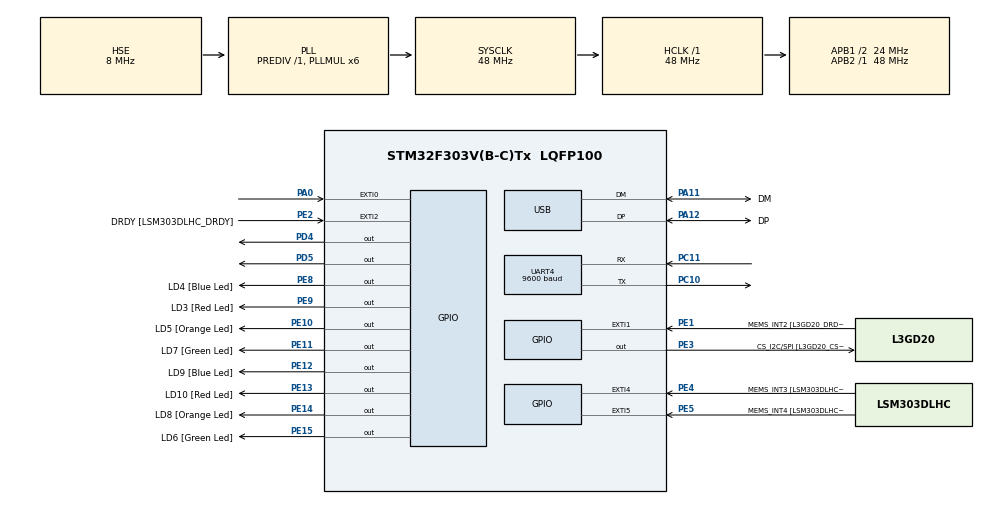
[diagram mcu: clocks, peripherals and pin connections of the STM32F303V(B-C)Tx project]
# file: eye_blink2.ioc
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Mcu.Family=STM32F3
Mcu.Name=STM32F303V(B-C)Tx
Mcu.Package=LQFP100
NVIC.EXTI0_IRQn=true\:0\:0\:false\:false\:true\:true\:true\:true
NVIC.PriorityGroup=NVIC_PRIORITYGROUP_0
NVIC.UART4_IRQn=true\:0\:0\:false\:false\:true\:true\:true\:true
NVIC.USB_LP_CAN_RX0_IRQn=true\:0\:0\:false\:false\:true\:false\:true\:true
PA0.GPIO_ModeDefaultEXTI=GPIO_MODE_IT_RISING_FALLING
PA0.Signal=GPXTI0
PA11.GPIO_Label=DM
PA11.Mode=Device
PA11.Signal=USB_DM
PA12.GPIO_Label=DP
PA12.Mode=Device
PA12.Signal=USB_DP
PA13.GPIO_Label=SWDIO
PA13.Mode=Serial_Wire
PA13.Signal=SYS_JTMS-SWDIO
PA14.GPIO_Label=SWCLK
PA14.Mode=Serial_Wire
PA14.Signal=SYS_JTCK-SWCLK
PA5.GPIO_Label=SPI1_SCK [L3GD20_SCL/SPC]
PA5.Signal=SPI1_SCK
PA6.GPIO_Label=SPI1_MISO [L3GD20_SA0/SDO]
PA6.Signal=SPI1_MISO
PA7.GPIO_Label=SPI1_MISO [L3GD20_SDA/SDI/SDO]
PA7.Signal=SPI1_MOSI
PB3.GPIO_Label=SWO
PB3.Signal=SYS_JTDO-TRACESWO
PB6.GPIO_Label=I2C1_SCL [LSM303DLHC_SCL]
PB6.GPIO_Pu=GPIO_PULLUP
PB6.Signal=I2C1_SCL
PB7.GPIO_Label=I2C1_SDA [LSM303DLHC_SDA]
PB7.GPIO_Pu=GPIO_PULLUP
PB7.Signal=I2C1_SDA
PC10.Mode=Asynchronous
PC10.Signal=UART4_TX
PC11.Mode=Asynchronous
PC11.Signal=UART4_RX
PC14-OSC32_IN.GPIO_Label=OSC32_IN
PC14-OSC32_IN.Signal=RCC_OSC32_IN
PC15-OSC32_OUT.GPIO_Label=OSC32_OUT
PC15-OSC32_OUT.Signal=RCC_OSC32_OUT
PD4.Signal=GPIO_Output
PD5.Signal=GPIO_Output
PE1.GPIO_Label=MEMS_INT2 [L3GD20_DRDY/INT2]
PE1.GPIO_ModeDefaultEXTI=GPIO_MODE_EVT_RISING
PE1.Signal=GPXTI1
PE10.GPIO_Label=LD5 [Orange Led]
PE10.Signal=GPIO_Output
PE11.GPIO_Label=LD7 [Green Led]
PE11.Signal=GPIO_Output
PE12.GPIO_Label=LD9 [Blue Led]
PE12.Signal=GPIO_Output
PE13.GPIO_Label=LD10 [Red Led]
PE13.Signal=GPIO_Output
PE14.GPIO_Label=LD8 [Orange Led]
PE14.Signal=GPIO_Output
PE15.GPIO_Label=LD6 [Green Led]
PE15.Signal=GPIO_Output
PE2.GPIO_Label=DRDY [LSM303DLHC_DRDY]
PE2.GPIO_ModeDefaultEXTI=GPIO_MODE_EVT_RISING
PE2.Signal=GPXTI2
PE3.GPIO_Label=CS_I2C/SPI [L3GD20_CS_I2C/SPI]
PE3.Signal=GPIO_Output
PE4.GPIO_Label=MEMS_INT3 [LSM303DLHC_INT1]
PE4.GPIO_ModeDefaultEXTI=GPIO_MODE_EVT_RISING
PE4.Signal=GPXTI4
PE5.GPIO_Label=MEMS_INT4 [LSM303DLHC_INT2]
PE5.GPIO_ModeDefaultEXTI=GPIO_MODE_EVT_RISING
PE5.Signal=GPXTI5
PE8.GPIO_Label=LD4 [Blue Led]
PE8.Signal=GPIO_Output
PE9.GPIO_Label=LD3 [Red Led]
PE9.Signal=GPIO_Output
PF0-OSC_IN.GPIO_Label=OSC_IN
PF0-OSC_IN.Mode=HSE-External-Oscillator
PF0-OSC_IN.Signal=RCC_OSC_IN
PF1-OSC_OUT.GPIO_Label=OSC_OUT
PF1-OSC_OUT.Mode=HSE-External-Oscillator
PF1-OSC_OUT.Signal=RCC_OSC_OUT
ProjectManager.HeapSize=0x200
ProjectManager.StackSize=0x400
ProjectManager.TargetToolchain=STM32CubeIDE
RCC.AHBFreq_Value=48000000
RCC.APB1CLKDivider=RCC_HCLK_DIV2
RCC.APB1Freq_Value=24000000
RCC.APB1TimFreq_Value=48000000
RCC.APB2Freq_Value=48000000
RCC.APB2TimFreq_Value=48000000
RCC.CortexFreq_Value=48000000
RCC.HCLKFreq_Value=48000000
RCC.HSE_VALUE=8000000
RCC.HSI_VALUE=8000000
RCC.LSE_VALUE=32768
RCC.PLLMUL=RCC_PLL_MUL6
RCC.SYSCLKFreq_VALUE=48000000
RCC.SYSCLKSourceVirtual=RCC_SYSCLKSOURCE_PLLCLK
RCC.USBFreq_Value=48000000
UART4.BaudRate=9600
UART4.Mode=MODE_RX
USB_DEVICE.CLASS_NAME_FS=CDC
USB_DEVICE.PRODUCT_STRING_CDC_FS=STM32 Virtual Port
USB_DEVICE.VirtualMode=Cdc
USB_DEVICE.VirtualModeFS=Cdc_FS
VP_USB_DEVICE_VS_USB_DEVICE_CDC_FS.Mode=CDC_FS
board=STM32F3DISCOVERY

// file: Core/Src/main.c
/* USER CODE BEGIN Header */
/**
  ******************************************************************************
  * @file           : main.c
  * @brief          : Main program body
  ******************************************************************************
  * @attention
  *
  * Copyright (c) 2024 STMicroelectronics.
  * All rights reserved.
  *
  * This software is licensed under terms that can be found in the LICENSE file
  * in the root directory of this software component.
  * If no LICENSE file comes with this software, it is provided AS-IS.
  *
  ******************************************************************************
  */
/* USER CODE END Header */
#include "main.h"
#include "usb_device.h"

/* USER CODE BEGIN Includes */

#include "usbd_cdc_if.h"
#include "string.h"
#include "stm32f3xx_hal_pcd.h"
#include "usbd_conf.h"

/* USER CODE END Includes */

/* USER CODE BEGIN PD */

#define BUFFER_LEN 1
uint8_t RX_BUFFER[BUFFER_LEN] = {0};

/* USER CODE END PD */

UART_HandleTypeDef huart4;

/* USER CODE BEGIN PV */

volatile uint8_t led_state = 2; // Definizione della variabile: 2 = DEFAULT, 1 = OK, 0 = ALERT
volatile uint8_t alert = 0;

/* USER CODE END PV */

void SystemClock_Config(void);
static void MX_GPIO_Init(void);
static void MX_UART4_Init(void);

/* USER CODE BEGIN 0 */

void HAL_UART_RxCpltCallback(UART_HandleTypeDef *huart){

	if(huart->Instance == huart4.Instance){

		HAL_UART_Receive_IT(&huart4,RX_BUFFER,BUFFER_LEN); // Enabling interrupt receive
		uint8_t data = RX_BUFFER[0];

		if(data == 78){

			//la configurazione dei led viene portato in fase 2, allarme spento e luce verde spenta

			HAL_GPIO_WritePin(GPIOD, GPIO_PIN_4, GPIO_PIN_RESET);
			HAL_GPIO_WritePin(GPIOE, GPIO_PIN_9, GPIO_PIN_RESET);
			HAL_GPIO_WritePin(GPIOE, GPIO_PIN_15, GPIO_PIN_RESET);

			//il led blu viene acceso e poi spento
			HAL_GPIO_WritePin(GPIOE, GPIO_PIN_12, GPIO_PIN_SET);

			for (volatile uint32_t i=0; i<8500000; i++);
			HAL_GPIO_WritePin(GPIOE, GPIO_PIN_12, GPIO_PIN_RESET);

			alert=0;
			led_state = 2;

		}
	}
}

void HAL_GPIO_EXTI_Callback (uint16_t GPIO_Pin) {
	//l'utente preme il pulsante
	if (GPIO_PIN_SET == HAL_GPIO_ReadPin(GPIOA, GPIO_PIN_0)) {

		//la configurazione dei led viene portato in fase 2, allarme spento e luce verde spenta

		HAL_GPIO_WritePin(GPIOD, GPIO_PIN_4, GPIO_PIN_RESET);
		HAL_GPIO_WritePin(GPIOE, GPIO_PIN_9, GPIO_PIN_RESET);
		HAL_GPIO_WritePin(GPIOE, GPIO_PIN_15, GPIO_PIN_RESET);

		//il led blu viene acceso e poi spento
		HAL_GPIO_WritePin(GPIOE, GPIO_PIN_12, GPIO_PIN_SET);

		for (volatile uint32_t i=0; i<8500000; i++);
		HAL_GPIO_WritePin(GPIOE, GPIO_PIN_12, GPIO_PIN_RESET);

		alert=0;
		led_state = 2;

	}
}

/* USER CODE END 0 */

int main(void)
{

  /* MCU Configuration--------------------------------------------------------*/

  /* Reset of all peripherals, Initializes the Flash interface and the Systick. */
  HAL_Init();

  /* Configure the system clock */
  SystemClock_Config();

  /* Initialize all configured peripherals */
  MX_GPIO_Init();
  MX_USB_DEVICE_Init();
  MX_UART4_Init();
  /* USER CODE BEGIN 2 */

  HAL_UART_Receive_IT(&huart4,RX_BUFFER,BUFFER_LEN); // Enabling interrupt receive

  /* USER CODE END 2 */

  /* Infinite loop */
  /* USER CODE BEGIN WHILE */
  while (1)
  {
	  if (led_state == 0) {
		  if(!(HAL_GPIO_ReadPin(GPIOE, GPIO_PIN_15))){
		      		  HAL_GPIO_WritePin(GPIOE, GPIO_PIN_15, GPIO_PIN_SET);
		  }
		  /*
		  if((HAL_GPIO_ReadPin(GPIOE, GPIO_PIN_9))){
		  		      		  HAL_GPIO_WritePin(GPIOE, GPIO_PIN_9, GPIO_PIN_RESET);
		  		  }
		  if((HAL_GPIO_ReadPin(GPIOD, GPIO_PIN_4))){
		  		      		  HAL_GPIO_WritePin(GPIOD, GPIO_PIN_4, GPIO_PIN_RESET);
		  		  }
		  */

	  } else if ((led_state == 1)) {

		  alert = 1;
		  if((HAL_GPIO_ReadPin(GPIOE, GPIO_PIN_15))){
		  		      		  HAL_GPIO_WritePin(GPIOE, GPIO_PIN_15, GPIO_PIN_RESET);
		  		  }
		  HAL_GPIO_TogglePin(GPIOD, GPIO_PIN_4);
		  HAL_GPIO_TogglePin(GPIOE, GPIO_PIN_9);
		  HAL_Delay(500); // Ritardo di 500ms per il lampeggio del LED

	  } else if (led_state == 2){

	  }

    /* USER CODE END WHILE */

  }
}

void SystemClock_Config(void)
{
  RCC_OscInitTypeDef RCC_OscInitStruct = {0};
  RCC_ClkInitTypeDef RCC_ClkInitStruct = {0};
  RCC_PeriphCLKInitTypeDef PeriphClkInit = {0};

  /** Initializes the RCC Oscillators according to the specified parameters
  * in the RCC_OscInitTypeDef structure.
  */
  RCC_OscInitStruct.OscillatorType = RCC_OSCILLATORTYPE_HSE;
  RCC_OscInitStruct.HSEState = RCC_HSE_ON;
  RCC_OscInitStruct.HSEPredivValue = RCC_HSE_PREDIV_DIV1;
  RCC_OscInitStruct.HSIState = RCC_HSI_ON;
  RCC_OscInitStruct.PLL.PLLState = RCC_PLL_ON;
  RCC_OscInitStruct.PLL.PLLSource = RCC_PLLSOURCE_HSE;
  RCC_OscInitStruct.PLL.PLLMUL = RCC_PLL_MUL6;
  if (HAL_RCC_OscConfig(&RCC_OscInitStruct) != HAL_OK)
  {
    Error_Handler();
  }

  /** Initializes the CPU, AHB and APB buses clocks
  */
  RCC_ClkInitStruct.ClockType = RCC_CLOCKTYPE_HCLK|RCC_CLOCKTYPE_SYSCLK
                              |RCC_CLOCKTYPE_PCLK1|RCC_CLOCKTYPE_PCLK2;
  RCC_ClkInitStruct.SYSCLKSource = RCC_SYSCLKSOURCE_PLLCLK;
  RCC_ClkInitStruct.AHBCLKDivider = RCC_SYSCLK_DIV1;
  RCC_ClkInitStruct.APB1CLKDivider = RCC_HCLK_DIV2;
  RCC_ClkInitStruct.APB2CLKDivider = RCC_HCLK_DIV1;

  if (HAL_RCC_ClockConfig(&RCC_ClkInitStruct, FLASH_LATENCY_1) != HAL_OK)
  {
    Error_Handler();
  }
  PeriphClkInit.PeriphClockSelection = RCC_PERIPHCLK_USB|RCC_PERIPHCLK_UART4;
  PeriphClkInit.Uart4ClockSelection = RCC_UART4CLKSOURCE_PCLK1;
  PeriphClkInit.USBClockSelection = RCC_USBCLKSOURCE_PLL;
  if (HAL_RCCEx_PeriphCLKConfig(&PeriphClkInit) != HAL_OK)
  {
    Error_Handler();
  }
}

static void MX_UART4_Init(void)
{

  huart4.Instance = UART4;
  huart4.Init.BaudRate = 9600;
  huart4.Init.WordLength = UART_WORDLENGTH_8B;
  huart4.Init.StopBits = UART_STOPBITS_1;
  huart4.Init.Parity = UART_PARITY_NONE;
  huart4.Init.Mode = UART_MODE_RX;
  huart4.Init.HwFlowCtl = UART_HWCONTROL_NONE;
  huart4.Init.OverSampling = UART_OVERSAMPLING_16;
  huart4.Init.OneBitSampling = UART_ONE_BIT_SAMPLE_DISABLE;
  huart4.AdvancedInit.AdvFeatureInit = UART_ADVFEATURE_NO_INIT;
  if (HAL_UART_Init(&huart4) != HAL_OK)
  {
    Error_Handler();
  }

}

static void MX_GPIO_Init(void)
{
  GPIO_InitTypeDef GPIO_InitStruct = {0};

  /* GPIO Ports Clock Enable */
  __HAL_RCC_GPIOE_CLK_ENABLE();
  __HAL_RCC_GPIOC_CLK_ENABLE();
  __HAL_RCC_GPIOF_CLK_ENABLE();
  __HAL_RCC_GPIOA_CLK_ENABLE();
  __HAL_RCC_GPIOD_CLK_ENABLE();
  __HAL_RCC_GPIOB_CLK_ENABLE();

  /*Configure GPIO pin Output Level */
  HAL_GPIO_WritePin(GPIOE, CS_I2C_SPI_Pin|LD4_Pin|LD3_Pin|LD5_Pin
                          |LD7_Pin|LD9_Pin|LD10_Pin|LD8_Pin
                          |LD6_Pin, GPIO_PIN_RESET);

  /*Configure GPIO pin Output Level */
  HAL_GPIO_WritePin(GPIOD, GPIO_PIN_4|GPIO_PIN_5, GPIO_PIN_RESET);

  /*Configure GPIO pins : DRDY_Pin MEMS_INT3_Pin MEMS_INT4_Pin MEMS_INT2_Pin */
  GPIO_InitStruct.Pin = DRDY_Pin|MEMS_INT3_Pin|MEMS_INT4_Pin|MEMS_INT2_Pin;
  GPIO_InitStruct.Mode = GPIO_MODE_EVT_RISING;
  GPIO_InitStruct.Pull = GPIO_NOPULL;
  HAL_GPIO_Init(GPIOE, &GPIO_InitStruct);

  /*Configure GPIO pins : CS_I2C_SPI_Pin LD4_Pin LD3_Pin LD5_Pin
                           LD7_Pin LD9_Pin LD10_Pin LD8_Pin
                           LD6_Pin */
  GPIO_InitStruct.Pin = CS_I2C_SPI_Pin|LD4_Pin|LD3_Pin|LD5_Pin
                          |LD7_Pin|LD9_Pin|LD10_Pin|LD8_Pin
                          |LD6_Pin;
  GPIO_InitStruct.Mode = GPIO_MODE_OUTPUT_PP;
  GPIO_InitStruct.Pull = GPIO_NOPULL;
  GPIO_InitStruct.Speed = GPIO_SPEED_FREQ_LOW;
  HAL_GPIO_Init(GPIOE, &GPIO_InitStruct);

  /*Configure GPIO pin : PA0 */
  GPIO_InitStruct.Pin = GPIO_PIN_0;
  GPIO_InitStruct.Mode = GPIO_MODE_IT_RISING_FALLING;
  GPIO_InitStruct.Pull = GPIO_NOPULL;
  HAL_GPIO_Init(GPIOA, &GPIO_InitStruct);

  /*Configure GPIO pins : SPI1_SCK_Pin SPI1_MISO_Pin SPI1_MISOA7_Pin */
  GPIO_InitStruct.Pin = SPI1_SCK_Pin|SPI1_MISO_Pin|SPI1_MISOA7_Pin;
  GPIO_InitStruct.Mode = GPIO_MODE_AF_PP;
  GPIO_InitStruct.Pull = GPIO_NOPULL;
  GPIO_InitStruct.Speed = GPIO_SPEED_FREQ_HIGH;
  GPIO_InitStruct.Alternate = GPIO_AF5_SPI1;
  HAL_GPIO_Init(GPIOA, &GPIO_InitStruct);

  /*Configure GPIO pins : PD4 PD5 */
  GPIO_InitStruct.Pin = GPIO_PIN_4|GPIO_PIN_5;
  GPIO_InitStruct.Mode = GPIO_MODE_OUTPUT_PP;
  GPIO_InitStruct.Pull = GPIO_NOPULL;
  GPIO_InitStruct.Speed = GPIO_SPEED_FREQ_LOW;
  HAL_GPIO_Init(GPIOD, &GPIO_InitStruct);

  /*Configure GPIO pins : I2C1_SCL_Pin I2C1_SDA_Pin */
  GPIO_InitStruct.Pin = I2C1_SCL_Pin|I2C1_SDA_Pin;
  GPIO_InitStruct.Mode = GPIO_MODE_AF_OD;
  GPIO_InitStruct.Pull = GPIO_PULLUP;
  GPIO_InitStruct.Speed = GPIO_SPEED_FREQ_HIGH;
  GPIO_InitStruct.Alternate = GPIO_AF4_I2C1;
  HAL_GPIO_Init(GPIOB, &GPIO_InitStruct);

  /* EXTI interrupt init*/
  HAL_NVIC_SetPriority(EXTI0_IRQn, 0, 0);
  HAL_NVIC_EnableIRQ(EXTI0_IRQn);

}

void Error_Handler(void)
{
  __disable_irq();
  while (1)
  {
  }
}
